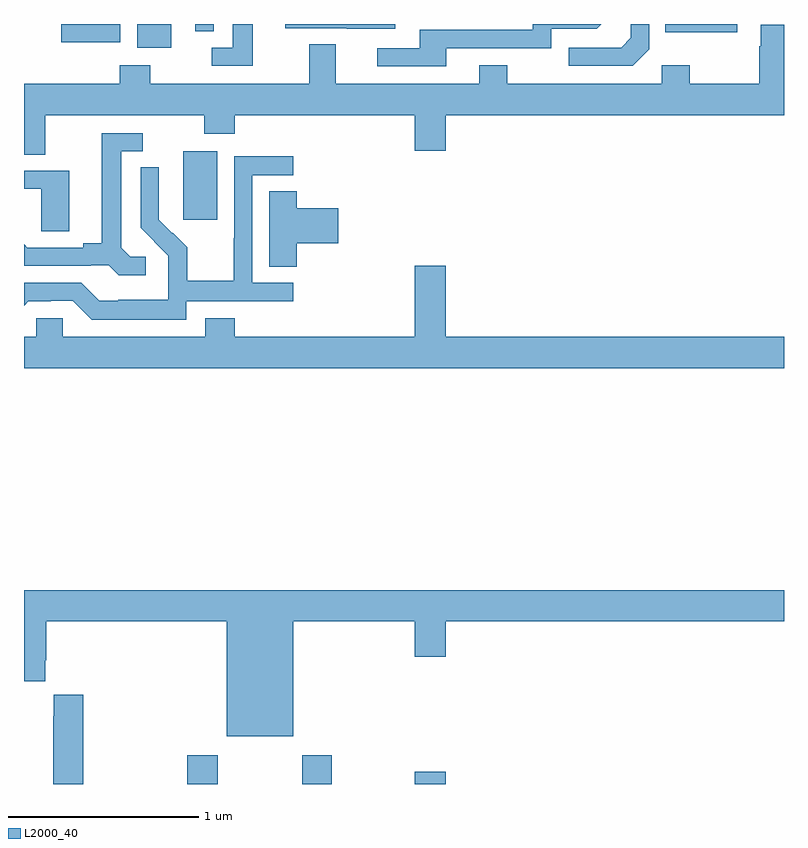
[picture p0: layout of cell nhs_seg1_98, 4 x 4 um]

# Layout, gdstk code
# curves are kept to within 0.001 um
import gdstk
lib = gdstk.Library(unit=1e-6, precision=1e-09)
def R(c, l, rs):  # rectangles x0, y0, x1, y1
    for r in rs: c.add(gdstk.rectangle(r[:2], r[2:], *l))
def P(c, l, *ps):  # polygons
    for p in ps: c.add(gdstk.Polygon(p, *l))
L2000_40 = (2000, 40)

nhs_seg1_98 = lib.new_cell('nhs_seg1_98')
R(nhs_seg1_98, L2000_40, [(115.859,560.199,116.019,560.35), (116.464,560.199,116.619,560.35), (117.056,560.199,117.22,560.263), (115.838,563.169,116.017,563.53), (115.595,564.074,115.774,564.199), (115.197,564.103,115.506,564.199), (118.375,564.155,118.753,564.199), (115.902,564.16,115.998,564.199)])
P(nhs_seg1_98, L2000_40, [(116.203,564.199),(116.099,564.199),(116.099,564.075),(115.989,564.075),(115.989,563.979),(116.203,563.979)],
  [(116.953,564.199),(116.375,564.199),(116.375,564.177),(116.699,564.177),(116.699,564.173),(116.953,564.173)],
  [(118.29,564.066),(118.29,564.199),(118.194,564.199),(118.194,564.126),(118.143,564.075),(117.867,564.075),(117.867,563.979),(118.203,563.979)],
  [(117.223,564.072),(117.774,564.072),(117.774,564.174),(118.014,564.174),(118.039,564.199),(117.678,564.199),(117.678,564.168),(117.083,564.168),(117.083,564.072),(116.859,564.072),(116.859,563.976),(117.223,563.976)],
  [(115.111,563.72),(115.948,563.72),(115.948,563.621),(116.108,563.621),(116.108,563.72),(117.056,563.72),(117.056,563.532),(117.22,563.532),(117.22,563.72),(119,563.72),(119,564.196),(118.877,564.196),(118.877,564.083),(118.87,564.083),(118.87,563.884),(118.503,563.884),(118.503,563.983),(118.356,563.983),(118.356,563.884),(117.543,563.884),(117.543,563.983),(117.395,563.983),(117.395,563.884),(116.641,563.884),(116.641,564.092),(116.501,564.092),(116.501,563.884),(115.665,563.884),(115.665,563.983),(115.505,563.983),(115.505,563.884),(115,563.884),(115,563.512),(115.111,563.512)],
  [(115.642,562.974),(115.56,562.974),(115.513,563.021),(115.513,563.529),(115.624,563.529),(115.624,563.625),(115.409,563.625),(115.409,563.045),(115.313,563.045),(115.313,563.022),(115.018,563.022),(115,563.04),(115,562.926),(115.352,562.926),(115.352,562.929),(115.446,562.929),(115.498,562.877),(115.642,562.877)],
  [(115.854,562.74),(116.416,562.74),(116.416,562.836),(116.202,562.836),(116.202,563.403),(116.416,563.403),(116.416,563.502),(116.106,563.502),(116.106,563.072),(116.104,563.072),(116.104,562.849),(115.859,562.849),(115.859,563.023),(115.782,563.1),(115.779,563.097),(115.709,563.168),(115.71,563.444),(115.614,563.444),(115.614,563.126),(115.76,562.978),(115.76,562.881),(115.758,562.881),(115.758,562.747),(115.495,562.747),(115.495,562.743),(115.395,562.743),(115.302,562.836),(115,562.836),(115,562.717),(115.023,562.74),(115.142,562.74),(115.142,562.743),(115.257,562.743),(115.357,562.643),(115.854,562.643)],
  [(115.237,563.427),(115,563.427),(115,563.331),(115.092,563.331),(115.092,563.107),(115.237,563.107)],
  [(116.435,563.045),(116.653,563.045),(116.653,563.228),(116.435,563.228),(116.435,563.318),(116.291,563.318),(116.291,562.921),(116.435,562.921)],
  [(119,562.552),(117.22,562.552),(117.22,562.927),(117.056,562.927),(117.056,562.552),(116.108,562.552),(116.108,562.651),(115.955,562.651),(115.955,562.552),(115.203,562.552),(115.203,562.65),(115.065,562.65),(115.065,562.552),(115,562.552),(115,562.388),(119,562.388)],
  [(116.416,561.056),(117.056,561.056),(117.056,560.868),(117.22,560.868),(117.22,561.056),(119,561.056),(119,561.22),(115,561.22),(115,560.739),(115.111,560.739),(115.111,560.851),(115.118,560.851),(115.118,561.056),(116.066,561.056),(116.066,560.45),(116.416,560.45)],
  [(115.313,560.668),(115.157,560.668),(115.157,560.555),(115.153,560.555),(115.153,560.199),(115.313,560.199)])

lib.write_gds('nhs_seg1_98.gds')
